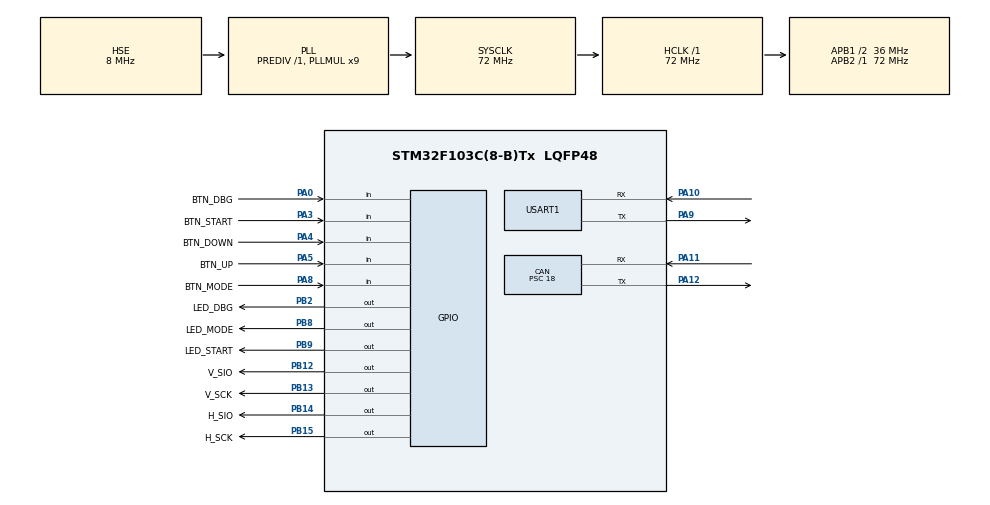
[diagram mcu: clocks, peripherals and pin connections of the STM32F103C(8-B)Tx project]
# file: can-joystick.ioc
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CAN.BS1=CAN_BS1_2TQ
CAN.CalculateBaudRate=500000
CAN.CalculateTimeBit=2000
CAN.CalculateTimeQuantum=500.0
CAN.Prescaler=18
Dma.Request0=USART1_RX
Dma.USART1_RX.0.Direction=DMA_PERIPH_TO_MEMORY
Dma.USART1_RX.0.Instance=DMA1_Channel5
Dma.USART1_RX.0.MemDataAlignment=DMA_MDATAALIGN_BYTE
Dma.USART1_RX.0.MemInc=DMA_MINC_ENABLE
Dma.USART1_RX.0.Mode=DMA_CIRCULAR
Dma.USART1_RX.0.PeriphDataAlignment=DMA_PDATAALIGN_BYTE
Dma.USART1_RX.0.PeriphInc=DMA_PINC_DISABLE
Dma.USART1_RX.0.Priority=DMA_PRIORITY_LOW
Mcu.Family=STM32F1
Mcu.Name=STM32F103C(8-B)Tx
Mcu.Package=LQFP48
NVIC.DMA1_Channel5_IRQn=true\:0\:0\:false\:false\:true\:false\:true\:true
NVIC.PriorityGroup=NVIC_PRIORITYGROUP_4
NVIC.USART1_IRQn=true\:0\:0\:false\:false\:true\:true\:true\:true
PA0-WKUP.GPIO_Label=BTN_DBG
PA0-WKUP.GPIO_PuPd=GPIO_PULLUP
PA0-WKUP.Signal=GPIO_Input
PA10.Mode=Asynchronous
PA10.Signal=USART1_RX
PA11.Mode=CAN_Activate
PA11.Signal=CAN_RX
PA12.Mode=CAN_Activate
PA12.Signal=CAN_TX
PA3.GPIO_Label=BTN_START
PA3.GPIO_PuPd=GPIO_PULLUP
PA3.Signal=GPIO_Input
PA4.GPIO_Label=BTN_DOWN
PA4.GPIO_PuPd=GPIO_PULLUP
PA4.Signal=GPIO_Input
PA5.GPIO_Label=BTN_UP
PA5.GPIO_PuPd=GPIO_PULLUP
PA5.Signal=GPIO_Input
PA8.GPIO_Label=BTN_MODE
PA8.GPIO_PuPd=GPIO_PULLUP
PA8.Signal=GPIO_Input
PA9.Mode=Asynchronous
PA9.Signal=USART1_TX
PB12.GPIO_Label=V_SIO
PB12.GPIO_ModeDefaultOutputPP=GPIO_MODE_OUTPUT_OD
PB12.GPIO_PuPd=GPIO_NOPULL
PB12.GPIO_Speed=GPIO_SPEED_FREQ_HIGH
PB12.PinState=GPIO_PIN_SET
PB12.Signal=GPIO_Output
PB13.GPIO_Label=V_SCK
PB13.GPIO_ModeDefaultOutputPP=GPIO_MODE_OUTPUT_OD
PB13.GPIO_PuPd=GPIO_NOPULL
PB13.GPIO_Speed=GPIO_SPEED_FREQ_HIGH
PB13.PinState=GPIO_PIN_SET
PB13.Signal=GPIO_Output
PB14.GPIO_Label=H_SIO
PB14.GPIO_ModeDefaultOutputPP=GPIO_MODE_OUTPUT_OD
PB14.GPIO_PuPd=GPIO_NOPULL
PB14.GPIO_Speed=GPIO_SPEED_FREQ_HIGH
PB14.PinState=GPIO_PIN_SET
PB14.Signal=GPIO_Output
PB15.GPIO_Label=H_SCK
PB15.GPIO_ModeDefaultOutputPP=GPIO_MODE_OUTPUT_OD
PB15.GPIO_PuPd=GPIO_NOPULL
PB15.GPIO_Speed=GPIO_SPEED_FREQ_HIGH
PB15.PinState=GPIO_PIN_SET
PB15.Signal=GPIO_Output
PB2.GPIO_Label=LED_DBG
PB2.GPIO_PuPd=GPIO_PULLDOWN
PB2.PinState=GPIO_PIN_RESET
PB2.Signal=GPIO_Output
PB8.GPIO_Label=LED_MODE
PB8.GPIO_PuPd=GPIO_PULLDOWN
PB8.PinState=GPIO_PIN_RESET
PB8.Signal=GPIO_Output
PB9.GPIO_Label=LED_START
PB9.GPIO_PuPd=GPIO_PULLDOWN
PB9.Signal=GPIO_Output
PC14-OSC32_IN.Mode=LSE-External-Oscillator
PC14-OSC32_IN.Signal=RCC_OSC32_IN
PC15-OSC32_OUT.Mode=LSE-External-Oscillator
PC15-OSC32_OUT.Signal=RCC_OSC32_OUT
PD0-OSC_IN.Mode=HSE-External-Oscillator
PD0-OSC_IN.Signal=RCC_OSC_IN
PD1-OSC_OUT.Mode=HSE-External-Oscillator
PD1-OSC_OUT.Signal=RCC_OSC_OUT
ProjectManager.HeapSize=0x200
ProjectManager.StackSize=0x400
ProjectManager.TargetToolchain=STM32CubeIDE
RCC.ADCPresc=RCC_ADCPCLK2_DIV6
RCC.AHBFreq_Value=72000000
RCC.APB1CLKDivider=RCC_HCLK_DIV2
RCC.APB1Freq_Value=36000000
RCC.APB1TimFreq_Value=72000000
RCC.APB2Freq_Value=72000000
RCC.APB2TimFreq_Value=72000000
RCC.HCLKFreq_Value=72000000
RCC.PLLMUL=RCC_PLL_MUL9
RCC.PLLSourceVirtual=RCC_PLLSOURCE_HSE
RCC.SYSCLKFreq_VALUE=72000000
RCC.SYSCLKSource=RCC_SYSCLKSOURCE_PLLCLK
RCC.USBFreq_Value=72000000
USART1.VirtualMode=VM_ASYNC
VP_SYS_VS_ND.Mode=No_Debug
board=custom

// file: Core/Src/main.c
/* USER CODE BEGIN Header */
/**
  ******************************************************************************
  * @file           : main.c
  * @brief          : Main program body
  ******************************************************************************
  * @attention
  *
  * Copyright (c) 2025 STMicroelectronics.
  * All rights reserved.
  *
  * This software is licensed under terms that can be found in the LICENSE file
  * in the root directory of this software component.
  * If no LICENSE file comes with this software, it is provided AS-IS.
  *
  ******************************************************************************
  */
/* USER CODE END Header */
#include "main.h"
#include "can.h"
#include "dma.h"
#include "usart.h"
#include "gpio.h"

/* USER CODE BEGIN Includes */
#include "stdio.h"
#include "string.h"
#include "tm1637.h"
#include "stdbool.h"
/* USER CODE END Includes */

/* USER CODE BEGIN PTD */
enum BUTTONS
{
	BUTTON_UP = 0,
	BUTTON_DOWN,
	BUTTON_MODE,
	BUTTON_START,
	BUTTON_DBG,
	BUTTON_MAX
};

typedef enum
{
	BS_RELEASED,
	BS_PRESSED,
	BS_HOLD,
	BS_NONE
} BUTTON_STATE;

typedef struct but
{
	bool level;
	bool pressed;
	bool holded;
	uint32_t time_changed;
} button;

static button buttons[BUTTON_MAX];

enum LEDS
{
	LED_DBG,
	LED_STARTED,
	LED_MODE,
	LED_MAX
};

enum LED_STATE
{
	LS_ON,
	LS_BLINK,
	LS_OFF
};

typedef struct
{
	uint8_t state;
	uint32_t time_change;
} led;

typedef enum {
    MODE_DIRECT = 0,
//	MODE_REPEAT,
    MODE_CHANGE
} work_modes;

typedef enum {
	CHANGE_NONE,
	CHANGE_SPEED,
	CHANGE_TIME
} change_modes;

/* USER CODE END PTD */

/* USER CODE BEGIN PD */
#define BUTTON_DEBOUNCE_MS     20
#define BUTTON_HOLD_MS         1000
#define BUTTON_REPEAT_MS       250   // інтервал автоповтору
#define BLINK_PERIOD_MS        350

#define VAL_MIN            1
#define VAL_MAX            9999
#define VAL_STEP           1
#define VAL_BIG_STEP       20
#define DELAY 5

#define LED_RX_HOLD_MS       50
/* USER CODE END PD */

/* USER CODE BEGIN PV */
static work_modes app_mode = MODE_DIRECT;
static change_modes change_mode = CHANGE_NONE;

static bool repeat_started = false;
static bool repeat_up = true;
static uint32_t repeat_time = 0;

static uint16_t  speed_value = 200;
static uint16_t time_value_100ms = 15;

static uint32_t last_disp_blink_ms = 0;
static bool     disp_blink_on = true;

/* індикація RX */
static uint32_t last_can_rx_ms = 0;
/* USER CODE END PV */

void SystemClock_Config(void);
/* USER CODE BEGIN PFP */
static GPIO_PinState button_state(enum BUTTONS b);
static void handle_buttons(void);
static BUTTON_STATE check_button(enum BUTTONS b);
static void mode_short_press(void);
static void mode_long_press(void);
static void start_stop_timed(void);
static void update_displays(void);
static void update_leds(void);
static void poll_can_rx(void);

static void send_speed(int16_t speed);
/* USER CODE END PFP */

/* USER CODE BEGIN 0 */
tm1637_t speedDisplay,timeDisplay;
/* USER CODE END 0 */

int main(void)
{

  /* MCU Configuration--------------------------------------------------------*/

  /* Reset of all peripherals, Initializes the Flash interface and the Systick. */
  HAL_Init();

  /* Configure the system clock */
  SystemClock_Config();

  /* Initialize all configured peripherals */
  MX_GPIO_Init();
  MX_DMA_Init();
  MX_CAN_Init();
  MX_USART1_UART_Init();
  /* USER CODE BEGIN 2 */
//  uart1_interrupt();
  CAN_Reconfigure_And_Start();

	speedDisplay.gpio_clk = H_SCK_GPIO_Port;
	speedDisplay.gpio_dat = H_SIO_GPIO_Port;
	speedDisplay.pin_clk = H_SCK_Pin;
	speedDisplay.pin_dat = H_SIO_Pin;
	speedDisplay.seg_cnt = 4;

	timeDisplay.gpio_clk = V_SCK_GPIO_Port;
	timeDisplay.gpio_dat = V_SIO_GPIO_Port;
	timeDisplay.pin_clk = V_SCK_Pin;
	timeDisplay.pin_dat = V_SIO_Pin;
	timeDisplay.seg_cnt = 4;

	tm1637_init(&speedDisplay);
	tm1637_init(&timeDisplay);
	tm1637_brightness(&speedDisplay, 8);
	tm1637_brightness(&timeDisplay, 8);

  /* USER CODE END 2 */

  /* Infinite loop */
  /* USER CODE BEGIN WHILE */
  printf("program start\n");
  while (1)
  {
	  HAL_Delay(DELAY);
	  if (hcan.State == HAL_CAN_STATE_ERROR)
	  {
		  CAN_Reconfigure_And_Start();
		  HAL_Delay(200);
	  }

    /* USER CODE END WHILE */

    /* USER CODE BEGIN 3 */
	    handle_buttons();
	    poll_can_rx();
	    update_displays();
	    update_leds();
  }
  /* USER CODE END 3 */
}

void SystemClock_Config(void)
{
  RCC_OscInitTypeDef RCC_OscInitStruct = {0};
  RCC_ClkInitTypeDef RCC_ClkInitStruct = {0};

  /** Initializes the RCC Oscillators according to the specified parameters
  * in the RCC_OscInitTypeDef structure.
  */
  RCC_OscInitStruct.OscillatorType = RCC_OSCILLATORTYPE_HSE;
  RCC_OscInitStruct.HSEState = RCC_HSE_ON;
  RCC_OscInitStruct.HSEPredivValue = RCC_HSE_PREDIV_DIV1;
  RCC_OscInitStruct.HSIState = RCC_HSI_ON;
  RCC_OscInitStruct.PLL.PLLState = RCC_PLL_ON;
  RCC_OscInitStruct.PLL.PLLSource = RCC_PLLSOURCE_HSE;
  RCC_OscInitStruct.PLL.PLLMUL = RCC_PLL_MUL9;
  if (HAL_RCC_OscConfig(&RCC_OscInitStruct) != HAL_OK)
  {
    Error_Handler();
  }

  /** Initializes the CPU, AHB and APB buses clocks
  */
  RCC_ClkInitStruct.ClockType = RCC_CLOCKTYPE_HCLK|RCC_CLOCKTYPE_SYSCLK
                              |RCC_CLOCKTYPE_PCLK1|RCC_CLOCKTYPE_PCLK2;
  RCC_ClkInitStruct.SYSCLKSource = RCC_SYSCLKSOURCE_PLLCLK;
  RCC_ClkInitStruct.AHBCLKDivider = RCC_SYSCLK_DIV1;
  RCC_ClkInitStruct.APB1CLKDivider = RCC_HCLK_DIV2;
  RCC_ClkInitStruct.APB2CLKDivider = RCC_HCLK_DIV1;

  if (HAL_RCC_ClockConfig(&RCC_ClkInitStruct, FLASH_LATENCY_2) != HAL_OK)
  {
    Error_Handler();
  }
}

/* USER CODE BEGIN 4 */

static GPIO_PinState button_state(enum BUTTONS b)
{
	switch (b){
	case BUTTON_UP: return HAL_GPIO_ReadPin(BTN_UP_GPIO_Port, BTN_UP_Pin); break;
	case BUTTON_DOWN: return HAL_GPIO_ReadPin(BTN_DOWN_GPIO_Port, BTN_DOWN_Pin); break;
	case BUTTON_DBG: return HAL_GPIO_ReadPin(BTN_DBG_GPIO_Port, BTN_DBG_Pin); break;
	case BUTTON_MODE: return HAL_GPIO_ReadPin(BTN_MODE_GPIO_Port, BTN_MODE_Pin); break;
	case BUTTON_START: return HAL_GPIO_ReadPin(BTN_START_GPIO_Port, BTN_START_Pin); break;
	default:
	}
	return GPIO_PIN_RESET;
}

static BUTTON_STATE check_button(enum BUTTONS b)
{
	bool level = (button_state(b) == GPIO_PIN_RESET); // Active LOW
	uint32_t now = HAL_GetTick();
	uint32_t duration = now - buttons[b].time_changed;

	if (level != buttons[b].level)
	{
		buttons[b].time_changed = now;
		buttons[b].level = level;
		return BS_NONE;
	}

	if (duration > BUTTON_DEBOUNCE_MS)
	{
		if (level && !buttons[b].pressed)
		{
			buttons[b].pressed = true;
			return BS_PRESSED;
		}
		if (level && buttons[b].pressed)
		{
			uint16_t time = (buttons[b].holded)? BUTTON_REPEAT_MS:BUTTON_HOLD_MS;

			if (duration > time)
			{
				buttons[b].time_changed = now;
				buttons[b].holded = true;
				return BS_HOLD;
			}
		}
		if (!level && buttons[b].pressed)
		{
			buttons[b].pressed = false;
			buttons[b].holded = false;
			return BS_RELEASED;
		}
	}
	return BS_NONE;
}

static void mode_short_press(void)
{
	if (repeat_started) return;
    if (app_mode == MODE_CHANGE)
    {
    	if (change_mode == CHANGE_TIME)
    		change_mode = CHANGE_SPEED;
    	else change_mode = CHANGE_TIME;
    }// else app_mode = (app_mode == MODE_DIRECT) ? MODE_REPEAT : MODE_DIRECT;
}

static void mode_long_press(void)
{
	if (repeat_started) return;
	if (app_mode != MODE_CHANGE)
	{
		app_mode = MODE_CHANGE;
		change_mode = CHANGE_TIME;
	} else
	{
		app_mode = MODE_DIRECT;
		change_mode = CHANGE_NONE;
	}
}

static void handle_buttons(void)
{
    uint32_t now = HAL_GetTick();
    BUTTON_STATE ms = check_button(BUTTON_MODE);
    BUTTON_STATE up = check_button(BUTTON_UP);
    BUTTON_STATE dn = check_button(BUTTON_DOWN);
    if (ms == BS_HOLD) mode_long_press();
    else if (ms == BS_PRESSED) mode_short_press();
//    if (app_mode == MODE_REPEAT)
    {
    	BUTTON_STATE st = check_button(BUTTON_START);
    	if (st == BS_RELEASED)
    	{
    		repeat_started = !repeat_started;
    		repeat_up = true;
    		repeat_time = now;
    	}
    }

    if (app_mode == MODE_CHANGE)
    {
    	int v = 0;
    	if (up == BS_HOLD) v+= VAL_BIG_STEP; else if (up == BS_PRESSED) v+= VAL_STEP; else
		if (dn == BS_HOLD) v-= VAL_BIG_STEP; else if (dn == BS_PRESSED) v-= VAL_STEP;
    	if (v)
    	{
    		uint16_t *vc = 0;

    		if (change_mode == CHANGE_SPEED)
    			vc = &speed_value;
    		else
    			vc = &time_value_100ms;
    		int val = *vc + v;
			if (val > VAL_MAX) val = VAL_MAX; else
			if (val < VAL_MIN) val = VAL_MIN;
			*vc = val;
    	}
    } else if (app_mode == MODE_DIRECT)
    {
    	if (repeat_started)
		{
			start_stop_timed();
		} else
    	if (buttons[BUTTON_UP].pressed) send_speed(speed_value);
    	else if (buttons[BUTTON_DOWN].pressed) send_speed(-speed_value);
    	else send_speed(0);
    }// else if (app_mode == MODE_REPEAT)
    {

    }
}

static void start_stop_timed(void)
{
    uint32_t now = HAL_GetTick();
    if (now - repeat_time > time_value_100ms * 100)
    {
    	repeat_up = !repeat_up;
    	repeat_time = now;
    }
    int16_t v = (repeat_up)? -speed_value : speed_value;
    send_speed(v);
}

static void update_displays(void)
{
    uint32_t now = HAL_GetTick();
    if (now - last_disp_blink_ms >= BLINK_PERIOD_MS) {
        last_disp_blink_ms = now;
        disp_blink_on = !disp_blink_on;
    }

    bool blink_time  = (change_mode == CHANGE_TIME);
    bool blink_speed = (change_mode == CHANGE_SPEED);

    if (blink_speed && !disp_blink_on) {
        tm1637_disp_clear(&speedDisplay);
    } else {
        tm1637_disp_printf(&speedDisplay, "%4u", speed_value);
    }

    if (blink_time && !disp_blink_on) {
        tm1637_disp_clear(&timeDisplay);
    } else {
        tm1637_disp_printf(&timeDisplay, "%4u", time_value_100ms);
    }
}

static void update_leds(void)
{
//    HAL_GPIO_WritePin(LED_MODE_GPIO_Port, LED_MODE_Pin,
//                      (app_mode == MODE_REPEAT) ? GPIO_PIN_RESET : GPIO_PIN_SET);
//    HAL_GPIO_WritePin(LED_START_GPIO_Port, LED_START_Pin,
//                      (repeat_started) ? GPIO_PIN_RESET : GPIO_PIN_SET);

    uint32_t now = HAL_GetTick();
    GPIO_PinState dbg = (now - last_can_rx_ms <= LED_RX_HOLD_MS) ? GPIO_PIN_SET : GPIO_PIN_RESET;
    HAL_GPIO_WritePin(LED_DBG_GPIO_Port, LED_DBG_Pin, dbg);
}

void send_speed(int16_t speed)
{
	uint8_t data[8];
	data[0]=0x01;
	data[1]=0x20;
	data[2]=0x0D;
	data[3]=0x03;
	uint16_t v = speed;
	data[4]=v & 0xFF;
	data[5]=(v>>8)&0xFF;
	if(speed < 0)
	{data[6] = 0xFF; data[7]=0xFF;} else
	{data[6] = 0; data[7]=0;}
	CAN_Send(0x201,data,8);
	CAN_Send(0x202,data,8);
}

static void poll_can_rx(void)
{
    CAN_RxHeaderTypeDef hdr;
    uint8_t data[CAN_MESSAGE_SIZE];
    uint32_t now = HAL_GetTick();

    while (HAL_CAN_GetRxFifoFillLevel(&hcan, CAN_RX_FIFO0) > 0)
    {
        if (HAL_CAN_GetRxMessage(&hcan, CAN_RX_FIFO0, &hdr, data) == HAL_OK)
        {
        	uint8_t addr = hdr.StdId&0x7F;
        	uint16_t type = hdr.StdId-addr;
			if (type == 0x700)
			{
				if (hdr.DLC == 1)
				{
					if (data[0] == 0x7F)
					{
						//motor not inited
						uint8_t d[8];
						d[0] = 0x01; // Start Node
						d[1] = addr;
						CAN_Send(0x00, d, 2);
					}
				}
			}
            last_can_rx_ms = now;
        } else {
            break;
        }
    }
}
/* USER CODE END 4 */

void Error_Handler(void)
{
  __disable_irq();
  while (1)
  {
  }
}
